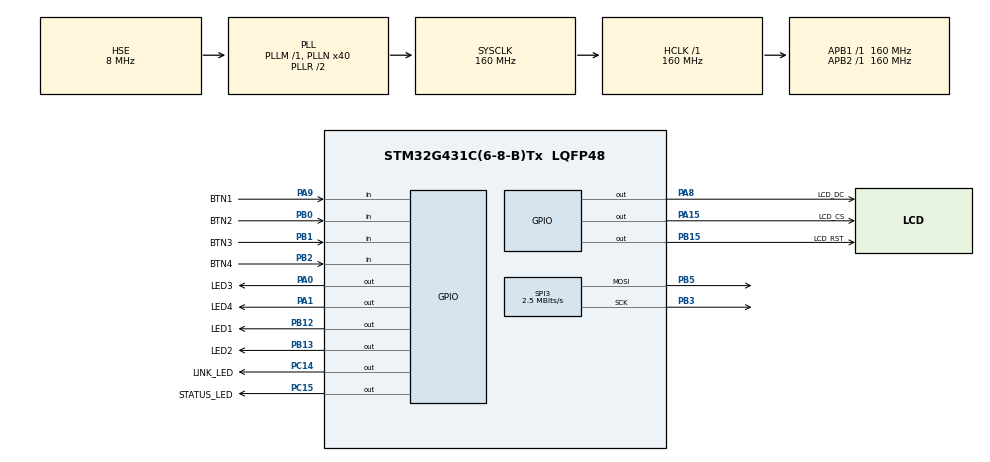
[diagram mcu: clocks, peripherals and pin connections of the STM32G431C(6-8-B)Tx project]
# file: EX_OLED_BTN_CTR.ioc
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Mcu.Family=STM32G4
Mcu.Name=STM32G431C(6-8-B)Tx
Mcu.Package=LQFP48
NVIC.PriorityGroup=NVIC_PRIORITYGROUP_4
PA0.GPIO_Label=LED3
PA0.Signal=GPIO_Output
PA1.GPIO_Label=LED4
PA1.Signal=GPIO_Output
PA15.GPIO_Label=LCD_CS
PA15.Signal=GPIO_Output
PA8.GPIO_Label=LCD_DC
PA8.Signal=GPIO_Output
PA9.GPIO_Label=BTN1
PA9.GPIO_PuPd=GPIO_NOPULL
PA9.Signal=GPIO_Input
PB0.GPIO_Label=BTN2
PB0.GPIO_PuPd=GPIO_NOPULL
PB0.Signal=GPIO_Input
PB1.GPIO_Label=BTN3
PB1.GPIO_PuPd=GPIO_NOPULL
PB1.Signal=GPIO_Input
PB12.GPIO_Label=LED1
PB12.Signal=GPIO_Output
PB13.GPIO_Label=LED2
PB13.Signal=GPIO_Output
PB15.GPIO_Label=LCD_RST
PB15.Signal=GPIO_Output
PB2.GPIO_Label=BTN4
PB2.GPIO_PuPd=GPIO_NOPULL
PB2.Signal=GPIO_Input
PB3.Mode=TX_Only_Simplex_Unidirect_Master
PB3.Signal=SPI3_SCK
PB5.Mode=TX_Only_Simplex_Unidirect_Master
PB5.Signal=SPI3_MOSI
PC14-OSC32_IN.GPIO_Label=LINK_LED
PC14-OSC32_IN.Signal=GPIO_Output
PC15-OSC32_OUT.GPIO_Label=STATUS_LED
PC15-OSC32_OUT.Signal=GPIO_Output
PF0-OSC_IN.Mode=HSE-External-Oscillator
PF0-OSC_IN.Signal=RCC_OSC_IN
PF1-OSC_OUT.Mode=HSE-External-Oscillator
PF1-OSC_OUT.Signal=RCC_OSC_OUT
ProjectManager.HeapSize=0x200
ProjectManager.StackSize=0x400
ProjectManager.TargetToolchain=STM32CubeIDE
RCC.ADC12Freq_Value=160000000
RCC.AHBFreq_Value=160000000
RCC.APB1Freq_Value=160000000
RCC.APB1TimFreq_Value=160000000
RCC.APB2Freq_Value=160000000
RCC.APB2TimFreq_Value=160000000
RCC.CortexFreq_Value=160000000
RCC.EXTERNAL_CLOCK_VALUE=12288000
RCC.HCLKFreq_Value=160000000
RCC.HSE_VALUE=8000000
RCC.HSI48_VALUE=48000000
RCC.HSI_VALUE=16000000
RCC.LSE_VALUE=32768
RCC.PLLN=40
RCC.PLLSourceVirtual=RCC_PLLSOURCE_HSE
RCC.SYSCLKFreq_VALUE=160000000
RCC.SYSCLKSource=RCC_SYSCLKSOURCE_PLLCLK
RCC.USBFreq_Value=160000000
RCC.VCOOutputFreq_Value=320000000
SPI3.BaudRatePrescaler=SPI_BAUDRATEPRESCALER_64
SPI3.CalculateBaudRate=2.5 MBits/s
SPI3.DataSize=SPI_DATASIZE_8BIT
SPI3.Direction=SPI_DIRECTION_2LINES
SPI3.Mode=SPI_MODE_MASTER
SPI3.VirtualType=VM_MASTER
VP_SYS_VS_DBSignals.Mode=DisableDeadBatterySignals
board=custom

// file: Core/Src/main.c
/* USER CODE BEGIN Header */
/**
 ******************************************************************************
 * @file           : main.c
 * @brief          : Main program body
 ******************************************************************************
 * @attention
 *
 * Copyright (c) 2025 STMicroelectronics.
 * All rights reserved.
 *
 * This software is licensed under terms that can be found in the LICENSE file
 * in the root directory of this software component.
 * If no LICENSE file comes with this software, it is provided AS-IS.
 *
 ******************************************************************************
 */

 /**
  * @brief 버튼의 눌림 여부를 OLED로 출력하는 예제입니다.
  */

/* USER CODE END Header */
#include "main.h"

/* USER CODE BEGIN Includes */
#include "oled.h"
#include "font.h"
/* USER CODE END Includes */

// SPI 통신을 위한 외부 참조
SPI_HandleTypeDef hspi3;

// 글씨 밝기
enum bright
{
	BRIGHT_OFF = 0, // 완전히 꺼짐 (보이지 않음)
	BRIGHT_LOW = 1, // 어둡게 (OFF 상태 표시용)
	BRIGHT_ON = 15	// 밝게 (ON 상태 표시용)
};

// btn flag 변수로 OLED 화면 갱신을 트리거 합니다.
int btn1_flag = 0;
int btn2_flag = 0;

void SystemClock_Config(void);
static void MX_GPIO_Init(void);
static void MX_SPI3_Init(void);

/* USER CODE BEGIN 0 */

/**
 * @brief 버튼상태 감지 함수
 */
void buttonLedTask(void)
{

	if (HAL_GPIO_ReadPin(BTN1_GPIO_Port, BTN1_Pin) == GPIO_PIN_RESET)
	{
		btn1_flag = 1;
		HAL_GPIO_WritePin(STATUS_LED_GPIO_Port, STATUS_LED_Pin, GPIO_PIN_RESET);
	}
	else
	{
		btn1_flag = 0;
		HAL_GPIO_WritePin(STATUS_LED_GPIO_Port, STATUS_LED_Pin, GPIO_PIN_SET);
	}

	// 버튼2 → LED2
	if (HAL_GPIO_ReadPin(BTN2_GPIO_Port, BTN2_Pin) == GPIO_PIN_RESET)
	{
		btn2_flag = 1;
		HAL_GPIO_WritePin(LINK_LED_GPIO_Port, LINK_LED_Pin, GPIO_PIN_RESET);
	}
	else
	{
		btn2_flag = 0;
		HAL_GPIO_WritePin(LINK_LED_GPIO_Port, LINK_LED_Pin, GPIO_PIN_SET);
	}
}

/* USER CODE END 0 */

int main(void)
{

	/* MCU Configuration--------------------------------------------------------*/

	/* Reset of all peripherals, Initializes the Flash interface and the Systick. */
	HAL_Init();

	/* Configure the system clock */
	SystemClock_Config();

	/* Initialize all configured peripherals */
	MX_GPIO_Init();
	MX_SPI3_Init();
	/* USER CODE BEGIN 2 */
	// 가장 작은 폰트로 첫 글자만
	OLED_init(); // oled 초기화

	OLED_fill(0); // oled 전체를 검은색으로 칠함

	// (x좌표, y좌표, String, font, 밝기)
	OLED_drawString(20, 0, "Button List", &font_07x10, BRIGHT_ON); // 화면 위쪽
	OLED_drawString(0, 20, "Button1", &font_07x10, BRIGHT_ON);
	OLED_drawString(60, 20, "OFF", &font_07x10, BRIGHT_LOW); // OFF는 어둡게
	OLED_drawString(0, 40, "Button2", &font_07x10, BRIGHT_ON);
	OLED_drawString(60, 40, "OFF", &font_07x10, BRIGHT_LOW);

	/* USER CODE END 2 */

	/* Infinite loop */
	/* USER CODE BEGIN WHILE */
	while (1)
	{
		buttonLedTask();
		OLED_drawString(60, 20, btn1_flag ? "ON " : "OFF", &font_07x10, btn1_flag ? BRIGHT_ON : BRIGHT_LOW);
		OLED_drawString(60, 40, btn2_flag ? "ON " : "OFF", &font_07x10, btn2_flag ? BRIGHT_ON : BRIGHT_LOW);

		/* USER CODE END WHILE */

	}
}

void SystemClock_Config(void)
{
	RCC_OscInitTypeDef RCC_OscInitStruct = {0};
	RCC_ClkInitTypeDef RCC_ClkInitStruct = {0};

	/** Configure the main internal regulator output voltage
	 */
	HAL_PWREx_ControlVoltageScaling(PWR_REGULATOR_VOLTAGE_SCALE1_BOOST);

	/** Initializes the RCC Oscillators according to the specified parameters
	 * in the RCC_OscInitTypeDef structure.
	 */
	RCC_OscInitStruct.OscillatorType = RCC_OSCILLATORTYPE_HSE;
	RCC_OscInitStruct.HSEState = RCC_HSE_ON;
	RCC_OscInitStruct.PLL.PLLState = RCC_PLL_ON;
	RCC_OscInitStruct.PLL.PLLSource = RCC_PLLSOURCE_HSE;
	RCC_OscInitStruct.PLL.PLLM = RCC_PLLM_DIV1;
	RCC_OscInitStruct.PLL.PLLN = 40;
	RCC_OscInitStruct.PLL.PLLP = RCC_PLLP_DIV2;
	RCC_OscInitStruct.PLL.PLLQ = RCC_PLLQ_DIV2;
	RCC_OscInitStruct.PLL.PLLR = RCC_PLLR_DIV2;
	if (HAL_RCC_OscConfig(&RCC_OscInitStruct) != HAL_OK)
	{
		Error_Handler();
	}

	/** Initializes the CPU, AHB and APB buses clocks
	 */
	RCC_ClkInitStruct.ClockType = RCC_CLOCKTYPE_HCLK | RCC_CLOCKTYPE_SYSCLK | RCC_CLOCKTYPE_PCLK1 | RCC_CLOCKTYPE_PCLK2;
	RCC_ClkInitStruct.SYSCLKSource = RCC_SYSCLKSOURCE_PLLCLK;
	RCC_ClkInitStruct.AHBCLKDivider = RCC_SYSCLK_DIV1;
	RCC_ClkInitStruct.APB1CLKDivider = RCC_HCLK_DIV1;
	RCC_ClkInitStruct.APB2CLKDivider = RCC_HCLK_DIV1;

	if (HAL_RCC_ClockConfig(&RCC_ClkInitStruct, FLASH_LATENCY_4) != HAL_OK)
	{
		Error_Handler();
	}
}

static void MX_SPI3_Init(void)
{

	/* SPI3 parameter configuration*/
	hspi3.Instance = SPI3;
	hspi3.Init.Mode = SPI_MODE_MASTER;
	hspi3.Init.Direction = SPI_DIRECTION_2LINES;
	hspi3.Init.DataSize = SPI_DATASIZE_8BIT;
	hspi3.Init.CLKPolarity = SPI_POLARITY_LOW;
	hspi3.Init.CLKPhase = SPI_PHASE_1EDGE;
	hspi3.Init.NSS = SPI_NSS_SOFT;
	hspi3.Init.BaudRatePrescaler = SPI_BAUDRATEPRESCALER_64;
	hspi3.Init.FirstBit = SPI_FIRSTBIT_MSB;
	hspi3.Init.TIMode = SPI_TIMODE_DISABLE;
	hspi3.Init.CRCCalculation = SPI_CRCCALCULATION_DISABLE;
	hspi3.Init.CRCPolynomial = 7;
	hspi3.Init.CRCLength = SPI_CRC_LENGTH_DATASIZE;
	hspi3.Init.NSSPMode = SPI_NSS_PULSE_ENABLE;
	if (HAL_SPI_Init(&hspi3) != HAL_OK)
	{
		Error_Handler();
	}
}

static void MX_GPIO_Init(void)
{
	GPIO_InitTypeDef GPIO_InitStruct = {0};

	/* GPIO Ports Clock Enable */
	__HAL_RCC_GPIOC_CLK_ENABLE();
	__HAL_RCC_GPIOF_CLK_ENABLE();
	__HAL_RCC_GPIOA_CLK_ENABLE();
	__HAL_RCC_GPIOB_CLK_ENABLE();

	/*Configure GPIO pin Output Level */
	HAL_GPIO_WritePin(GPIOC, LINK_LED_Pin | STATUS_LED_Pin, GPIO_PIN_RESET);

	/*Configure GPIO pin Output Level */
	HAL_GPIO_WritePin(GPIOA, LED3_Pin | LED4_Pin | LCD_DC_Pin | LCD_CS_Pin,
					  GPIO_PIN_RESET);

	/*Configure GPIO pin Output Level */
	HAL_GPIO_WritePin(GPIOB, LED1_Pin | LED2_Pin | LCD_RST_Pin, GPIO_PIN_RESET);

	/*Configure GPIO pins : LINK_LED_Pin STATUS_LED_Pin */
	GPIO_InitStruct.Pin = LINK_LED_Pin | STATUS_LED_Pin;
	GPIO_InitStruct.Mode = GPIO_MODE_OUTPUT_PP;
	GPIO_InitStruct.Pull = GPIO_NOPULL;
	GPIO_InitStruct.Speed = GPIO_SPEED_FREQ_LOW;
	HAL_GPIO_Init(GPIOC, &GPIO_InitStruct);

	/*Configure GPIO pins : LED3_Pin LED4_Pin LCD_DC_Pin LCD_CS_Pin */
	GPIO_InitStruct.Pin = LED3_Pin | LED4_Pin | LCD_DC_Pin | LCD_CS_Pin;
	GPIO_InitStruct.Mode = GPIO_MODE_OUTPUT_PP;
	GPIO_InitStruct.Pull = GPIO_NOPULL;
	GPIO_InitStruct.Speed = GPIO_SPEED_FREQ_LOW;
	HAL_GPIO_Init(GPIOA, &GPIO_InitStruct);

	/*Configure GPIO pins : BTN2_Pin BTN3_Pin BTN4_Pin */
	GPIO_InitStruct.Pin = BTN2_Pin | BTN3_Pin | BTN4_Pin;
	GPIO_InitStruct.Mode = GPIO_MODE_INPUT;
	GPIO_InitStruct.Pull = GPIO_NOPULL;
	HAL_GPIO_Init(GPIOB, &GPIO_InitStruct);

	/*Configure GPIO pins : LED1_Pin LED2_Pin LCD_RST_Pin */
	GPIO_InitStruct.Pin = LED1_Pin | LED2_Pin | LCD_RST_Pin;
	GPIO_InitStruct.Mode = GPIO_MODE_OUTPUT_PP;
	GPIO_InitStruct.Pull = GPIO_NOPULL;
	GPIO_InitStruct.Speed = GPIO_SPEED_FREQ_LOW;
	HAL_GPIO_Init(GPIOB, &GPIO_InitStruct);

	/*Configure GPIO pin : BTN1_Pin */
	GPIO_InitStruct.Pin = BTN1_Pin;
	GPIO_InitStruct.Mode = GPIO_MODE_INPUT;
	GPIO_InitStruct.Pull = GPIO_NOPULL;
	HAL_GPIO_Init(BTN1_GPIO_Port, &GPIO_InitStruct);

}

void Error_Handler(void)
{
	__disable_irq();
	while (1)
	{
	}
}
